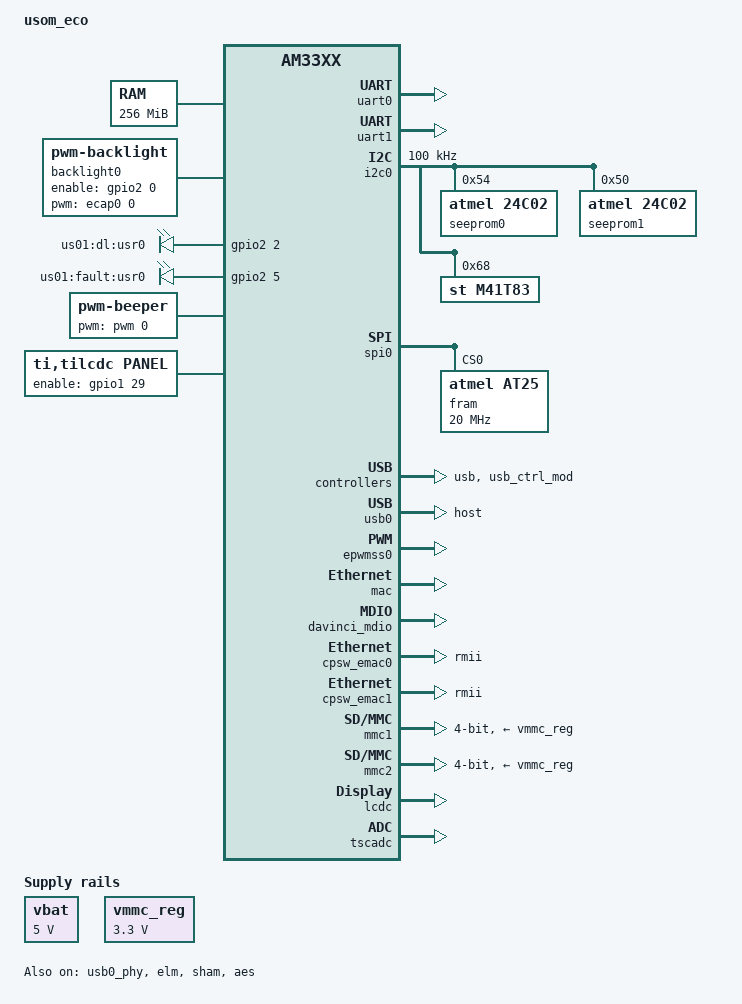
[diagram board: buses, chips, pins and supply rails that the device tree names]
/*
 * Copyright (C) 2012 Texas Instruments Incorporated - http://www.ti.com/
 *
 * This program is free software; you can redistribute it and/or modify
 * it under the terms of the GNU General Public License version 2 as
 * published by the Free Software Foundation.
 */
/dts-v1/;

#include "am33xx.dtsi"
#include <dt-bindings/interrupt-controller/irq.h>

/ {
	model = "usom_eco";
	compatible = "ti,am335x-evm", "ti,am33xx";

	memory@80000000 {
		device_type = "memory";
		reg = <0x80000000 0x10000000>; /* 256 MB */
	};

	chosen {
		stdout-path = &uart0;
	};
	
	vbat: fixedregulator@0 {
		compatible = "regulator-fixed";
		regulator-name = "vbat";
		regulator-min-microvolt = <5000000>;
		regulator-max-microvolt = <5000000>;
		regulator-boot-on;
	};

	vmmc_reg: fixedregulator@1 {
		compatible = "regulator-fixed";
		regulator-name = "vmmc";
		regulator-min-microvolt = <3300000>;
		regulator-max-microvolt = <3300000>;
		regulator-boot-on;
		regulator-always-on;
	};

	backlight0: backlight {
		compatible = "pwm-backlight";
		pwms = <&ecap0 0 50000 0>;
		brightness-levels = <0 4 8 12 16 20 24 28 32 36 40 44 48 52 56 60 64 68 72 76 80 84 88 92 96 100>;
		default-brightness-level = <0>;
		enable-gpios = <&gpio2 0 0>;
	};

	leds {
		pinctrl-names = "default", "sleep";
		pinctrl-0 = <&user_leds_default>;
		pinctrl-1 = <&user_leds_sleep>;

		compatible = "gpio-leds";

		led@1 {
			label = "us01:dl:usr0";
			gpios = <&gpio2 2 GPIO_ACTIVE_HIGH>;
			default-state = "on";
		};

		led@2 {
			label = "us01:fault:usr0";
			gpios = <&gpio2 5 GPIO_ACTIVE_HIGH>;
			default-state = "off";
		};
	};
	
	pwm: omap-pwm {
	  compatible = "ti,omap-dmtimer-pwm";
	  ti,timers = <&timer6>;
	  #pwm-cells = <3>;
	};

	working_hours {
	  compatible = "working_hours";
	  nvmem-names = "eeprom", "rtcnvram";
	  nvmem = <&seeprom0>, <&m41t83>;
	  has-blight;
	  status = "okay";
	};	
	
	beeper {
	  compatible = "pwm-beeper";
	  pwms = <&pwm 0 50000 0>;
	};
	
	panel {
		compatible = "ti,tilcdc,panel";
		status = "okay";
		pinctrl-names = "default", "sleep";
		pinctrl-0 = <&lcd_pins_default>;
		pinctrl-1 = <&lcd_pins_sleep>;
		enable-gpios = <&gpio1 29 0>;
		panel-info {
			ac-bias           = <255>;
			ac-bias-intrpt    = <0>;
			dma-burst-sz      = <16>;
			bpp               = <16>;
			fdd               = <0x80>;
			sync-edge         = <0>;
			sync-ctrl         = <1>;
			raster-order      = <0>;
			fifo-th           = <0>;
		};

		display-timings {
			800x480p62 {
				clock-frequency = <30000000>;
				hactive = <800>;
				vactive = <480>;
				hfront-porch = <39>;
				hback-porch = <39>;
				hsync-len = <47>;
				vback-porch = <29>;
				vfront-porch = <13>;
				vsync-len = <2>;
				hsync-active = <1>;
				vsync-active = <1>;
			};
		};
	};

};

&uart0 {
	/delete-property/dmas;
	/delete-property/dma-names;
	pinctrl-names = "default";
	pinctrl-0 = <&uart0_pins>;
	rts-gpio = <&gpio1 6 0>;
	mode-gpio = <&gpio1 7 0>;
	rxen-gpio = <&gpio1 5 0>;
	rs485-rts-active-high;
	status = "okay";
};

&uart1 {
	/delete-property/dmas;
	/delete-property/dma-names;
	pinctrl-names = "default";
	pinctrl-0 = <&uart1_pins>;
	status = "okay";
};

&i2c0 {
	pinctrl-names = "default";
	pinctrl-0 = <&i2c0_pins>;

	status = "okay";
	clock-frequency = <100000>;

	seeprom0:seeprom0@54 {
		compatible = "atmel,24c02";
		reg = <0x54>;
	};

	seeprom1:seeprom1@50 {
		compatible = "atmel,24c02";
		reg = <0x50>;
	};
			
	m41t83:m41t83@68 {
		compatible = "st,m41t83";
		reg = <0x68>;
	};
};

&spi0 {
	pinctrl-names = "default";
	pinctrl-0 = <&spi0_pins>;
	bus-num = <0>;
	status = "okay";
	
	fram: at25@0 {
	    compatible = "atmel,at25", "st,m95256";
	    reg = <0>;
	    spi-max-frequency = <20000000>;
	    pagesize = <64>;
	    size = <65536>;
	    address-width = <16>;
	  };
};
		
&usb {
	status = "okay";
};

&usb_ctrl_mod {
	status = "okay";
};

&usb0_phy {
	status = "okay";
};

&usb0 {
	status = "okay";
	dr_mode = "host";
};

&cppi41dma  {
	status = "okay";
};

&elm {
	status = "okay";
};

&epwmss0 {
	status = "okay";

	ecap0: pwm@100 {
		status = "okay";
		pinctrl-names = "default", "sleep";
		pinctrl-0 = <&ecap0_pins_default>;
		pinctrl-1 = <&ecap0_pins_sleep>;
	};
};

&mac {
	slaves = <1>;
	pinctrl-names = "default", "sleep";
	pinctrl-0 = <&cpsw_default>;
	pinctrl-1 = <&cpsw_sleep>;
	status = "okay";
};

&davinci_mdio {
	pinctrl-names = "default", "sleep";
	pinctrl-0 = <&davinci_mdio_default>;
	pinctrl-1 = <&davinci_mdio_sleep>;
	status = "okay";
};

&cpsw_emac0 {
  phy_id = <&davinci_mdio>, <1>;
  phy-mode = "rmii";
  status = "okay";
};

&cpsw_emac1 {
  phy_id = <&davinci_mdio>, <2>;
  phy-mode = "rmii";
  status = "okay";
};

&mmc1 {
	status = "okay";
	vmmc-supply = <&vmmc_reg>;
	bus-width = <4>;
	pinctrl-names = "default", "sleep";
	pinctrl-0 = <&mmc1_pins_default>;
	pinctrl-1 = <&mmc1_pins_sleep>;
};

&mmc2 {
  vmmc-supply = <&vmmc_reg>;
  pinctrl-names = "default";
  pinctrl-0 = <&emmc_pins>;
  bus-width = <4>;
  ti,non-removable;
  status = "okay";
};

&edma {
	ti,edma-xbar-event-map = <1 12
				  2 13>;
};

&lcdc {		
	status = "okay";
};

&tscadc {
	status = "okay";
	tsc {
		ti,wires = <4>;
		ti,x-plate-resistance = <600>;
		ti,coordinate-readouts = <5>;
		ti,wire-config = <0x00 0x11 0x22 0x33>;
		ti,charge-delay = <0x10000>;
	};
};

&sham {
	status = "okay";
};

&aes {
	status = "okay";
};

&am33xx_pinmux {
		pinctrl-names = "default";
		pinctrl-0 = <&clkout2_pin &lcd_pins_enable &phyuart_ctrl_pins &buzzer_pins_enable>;

		i2c0_pins: pinmux_i2c0_pins {
			pinctrl-single,pins = <
				AM33XX_PADCONF(AM335X_PIN_I2C0_SDA, PIN_INPUT_PULLUP, MUX_MODE0)	/* i2c0_sda.i2c0_sda */
				AM33XX_PADCONF(AM335X_PIN_I2C0_SCL, PIN_INPUT_PULLUP, MUX_MODE0)	/* i2c0_scl.i2c0_scl */
			>;
		};

		spi0_pins: pinmux_spi0_pins {
			pinctrl-single,pins = <
				AM33XX_PADCONF(AM335X_PIN_SPI0_SCLK, PIN_INPUT_PULLUP, MUX_MODE0)
				AM33XX_PADCONF(AM335X_PIN_SPI0_D0, PIN_INPUT_PULLUP, MUX_MODE0) 
				AM33XX_PADCONF(AM335X_PIN_SPI0_D1, PIN_INPUT_PULLUP, MUX_MODE0) 
				AM33XX_PADCONF(AM335X_PIN_SPI0_CS0, PIN_INPUT_PULLUP, MUX_MODE0) 
			>;
		};

		uart0_pins: pinmux_uart0_pins {
			pinctrl-single,pins = <
				AM33XX_PADCONF(AM335X_PIN_UART0_RXD, PIN_INPUT_PULLUP, MUX_MODE0)
				AM33XX_PADCONF(AM335X_PIN_UART0_TXD, PIN_OUTPUT_PULLDOWN, MUX_MODE0)
				AM33XX_PADCONF(AM335X_PIN_UART0_CTSN, PIN_INPUT, MUX_MODE0)
				AM33XX_PADCONF(AM335X_PIN_UART0_RTSN, PIN_OUTPUT_PULLDOWN, MUX_MODE0)
			>;
		};

		uart1_pins: pinmux_uart1_pins {
			pinctrl-single,pins = <
				AM33XX_PADCONF(AM335X_PIN_UART1_RXD, PIN_INPUT_PULLUP, MUX_MODE0)
				AM33XX_PADCONF(AM335X_PIN_UART1_TXD, PIN_OUTPUT_PULLDOWN, MUX_MODE0)
				AM33XX_PADCONF(AM335X_PIN_UART1_CTSN, PIN_INPUT, MUX_MODE0)
				AM33XX_PADCONF(AM335X_PIN_UART1_RTSN, PIN_OUTPUT_PULLDOWN, MUX_MODE0)
			>;
		};

		clkout2_pin: pinmux_clkout2_pin {
			pinctrl-single,pins = <
				AM33XX_PADCONF(AM335X_PIN_XDMA_EVENT_INTR1, PIN_OUTPUT_PULLDOWN, MUX_MODE3)	/* xdma_event_intr1.clkout2 */
			>;
		};

		ecap0_pins_default: backlight_pins {
			pinctrl-single,pins = <
				AM33XX_PADCONF(AM335X_PIN_ECAP0_IN_PWM0_OUT, 0x0, MUX_MODE0)
			>;
		};

		ecap0_pins_sleep: ecap0_pins_sleep {
			pinctrl-single,pins = <
				AM33XX_PADCONF(AM335X_PIN_ECAP0_IN_PWM0_OUT, 0x0, MUX_MODE7)
			>;
		};

		cpsw_default: cpsw_default {
		  pinctrl-single,pins = <
		  /* Slave 1 */
		  AM33XX_PADCONF(AM335X_PIN_MII1_CRS, PIN_INPUT_PULLDOWN, MUX_MODE1)      /* rmii1_crs_dv */
		  AM33XX_PADCONF(AM335X_PIN_RMII1_REF_CLK, PIN_INPUT_PULLDOWN, MUX_MODE0) /* rmii1_refclk */
		  AM33XX_PADCONF(AM335X_PIN_MII1_RXD1, PIN_INPUT_PULLDOWN, MUX_MODE1)	  /* rmii1_rd1 */
		  AM33XX_PADCONF(AM335X_PIN_MII1_RXD0, PIN_INPUT_PULLDOWN, MUX_MODE1)	  /* rmii1_rd0 */
		  AM33XX_PADCONF(AM335X_PIN_MII1_TXD1, PIN_OUTPUT_PULLDOWN, MUX_MODE1)	  /* rmii1_td1 */
		  AM33XX_PADCONF(AM335X_PIN_MII1_TXD0, PIN_OUTPUT_PULLDOWN, MUX_MODE1)	  /* rmii1_td0 */
		  AM33XX_PADCONF(AM335X_PIN_MII1_RX_ER, PIN_INPUT_PULLDOWN, MUX_MODE1)	  /* rmii1_rxer */
		  AM33XX_PADCONF(AM335X_PIN_MII1_TX_EN, PIN_OUTPUT_PULLDOWN, MUX_MODE1)	  /* rmii1_txen */
		  >;
		};
		
		cpsw_sleep: cpsw_sleep {
		  pinctrl-single,pins = <
		  /* Slave 1 */
		  AM33XX_PADCONF(AM335X_PIN_MII1_CRS, PIN_INPUT_PULLDOWN, MUX_MODE7)      /* rmii1_crs_dv */
		  AM33XX_PADCONF(AM335X_PIN_RMII1_REF_CLK, PIN_INPUT_PULLDOWN, MUX_MODE7) /* rmii1_refclk */
		  AM33XX_PADCONF(AM335X_PIN_MII1_RXD1, PIN_INPUT_PULLDOWN, MUX_MODE7)	  /* rmii1_rd1 */
		  AM33XX_PADCONF(AM335X_PIN_MII1_RXD0, PIN_INPUT_PULLDOWN, MUX_MODE7)	  /* rmii1_rd0 */
		  AM33XX_PADCONF(AM335X_PIN_MII1_TXD1, PIN_INPUT_PULLDOWN, MUX_MODE7)	  /* rmii1_td1 */
		  AM33XX_PADCONF(AM335X_PIN_MII1_TXD0, PIN_INPUT_PULLDOWN, MUX_MODE7)	  /* rmii1_td0 */
		  AM33XX_PADCONF(AM335X_PIN_MII1_RX_ER, PIN_INPUT_PULLDOWN, MUX_MODE7)	  /* rmii1_rxer */
		  AM33XX_PADCONF(AM335X_PIN_MII1_TX_EN, PIN_INPUT_PULLDOWN, MUX_MODE7)	  /* rmii1_txen */
		  >;
		};
		
		davinci_mdio_default: davinci_mdio_default {
			pinctrl-single,pins = <
				/* MDIO */
				AM33XX_PADCONF(AM335X_PIN_MDIO, PIN_INPUT_PULLUP | SLEWCTRL_FAST, MUX_MODE0)
				AM33XX_PADCONF(AM335X_PIN_MDC, PIN_OUTPUT_PULLUP, MUX_MODE0)
			>;
		};

		davinci_mdio_sleep: davinci_mdio_sleep {
			pinctrl-single,pins = <
				/* MDIO reset value */
				AM33XX_PADCONF(AM335X_PIN_MDIO, PIN_INPUT_PULLDOWN, MUX_MODE7)
				AM33XX_PADCONF(AM335X_PIN_MDC, PIN_INPUT_PULLDOWN, MUX_MODE7)
			>;
		};

		mmc1_pins_default: pinmux_mmc1_pins {
			pinctrl-single,pins = <
				AM33XX_PADCONF(AM335X_PIN_MMC0_DAT0, PIN_INPUT_PULLUP, MUX_MODE0)
				AM33XX_PADCONF(AM335X_PIN_MMC0_DAT1, PIN_INPUT_PULLUP, MUX_MODE0)
				AM33XX_PADCONF(AM335X_PIN_MMC0_DAT2, PIN_INPUT_PULLUP, MUX_MODE0)
				AM33XX_PADCONF(AM335X_PIN_MMC0_DAT3, PIN_INPUT_PULLUP, MUX_MODE0)
				AM33XX_PADCONF(AM335X_PIN_MMC0_CMD, PIN_INPUT_PULLUP, MUX_MODE0)
				AM33XX_PADCONF(AM335X_PIN_MMC0_CLK, PIN_INPUT_PULLUP, MUX_MODE0)
			>;
		};

		mmc1_pins_sleep: pinmux_mmc1_pins_sleep {
			pinctrl-single,pins = <
				AM33XX_PADCONF(AM335X_PIN_MMC0_DAT0, PIN_INPUT_PULLDOWN, MUX_MODE7)
				AM33XX_PADCONF(AM335X_PIN_MMC0_DAT1, PIN_INPUT_PULLDOWN, MUX_MODE7)
				AM33XX_PADCONF(AM335X_PIN_MMC0_DAT2, PIN_INPUT_PULLDOWN, MUX_MODE7)
				AM33XX_PADCONF(AM335X_PIN_MMC0_DAT3, PIN_INPUT_PULLDOWN, MUX_MODE7)
				AM33XX_PADCONF(AM335X_PIN_MMC0_CMD, PIN_INPUT_PULLDOWN, MUX_MODE7)
				AM33XX_PADCONF(AM335X_PIN_MMC0_CLK, PIN_INPUT_PULLDOWN, MUX_MODE7)
			>;
		};

		emmc_pins: pinmux_emmc_pins {
		  pinctrl-single,pins = <
				AM33XX_PADCONF(AM335X_PIN_GPMC_CSN1, PIN_INPUT_PULLUP, MUX_MODE2)
				AM33XX_PADCONF(AM335X_PIN_GPMC_CSN2, PIN_INPUT_PULLUP, MUX_MODE2)
				AM33XX_PADCONF(AM335X_PIN_GPMC_AD0, PIN_INPUT_PULLUP, MUX_MODE1)
				AM33XX_PADCONF(AM335X_PIN_GPMC_AD1, PIN_INPUT_PULLUP, MUX_MODE1)
				AM33XX_PADCONF(AM335X_PIN_GPMC_AD2, PIN_INPUT_PULLUP, MUX_MODE1)
				AM33XX_PADCONF(AM335X_PIN_GPMC_AD3, PIN_INPUT_PULLUP, MUX_MODE1)
			>;
		};

		lcd_pins_enable: pinmux_lcd_pins_enable {
		  	pinctrl-single,pins = <
				AM33XX_PADCONF(AM335X_PIN_GPMC_CSN0, PIN_OUTPUT_PULLDOWN, MUX_MODE7)
				AM33XX_PADCONF(AM335X_PIN_GPMC_CSN3, PIN_OUTPUT_PULLDOWN, MUX_MODE7)
		  	>;
		};

		phyuart_ctrl_pins: pinmux_phyuart_ctrl_pins {
		  pinctrl-single,pins = <
				AM33XX_PADCONF(AM335X_PIN_GPMC_AD7, PIN_OUTPUT_PULLDOWN, MUX_MODE7) /* RS232/485 MODE */
				AM33XX_PADCONF(AM335X_PIN_GPMC_AD6, PIN_OUTPUT_PULLDOWN, MUX_MODE7) /* DXEN */
				AM33XX_PADCONF(AM335X_PIN_GPMC_AD5, PIN_OUTPUT_PULLUP, MUX_MODE7)   /* RXEN */
		  >;
		};

		buzzer_pins_enable: pinmux_buzzer_pins_enable {
		  pinctrl-single,pins = <
				AM33XX_PADCONF(AM335X_PIN_GPMC_WEN, 0x0, MUX_MODE2) 
		  >;
		};

		user_leds_default: user_leds_default {
			pinctrl-single,pins = <
				AM33XX_PADCONF(AM335X_PIN_MCASP0_FSX, PIN_OUTPUT_PULLDOWN, MUX_MODE7) 
				AM33XX_PADCONF(AM335X_PIN_MCASP0_ACLKX, PIN_OUTPUT_PULLDOWN, MUX_MODE7) 
			>;
		};

		user_leds_sleep: user_leds_sleep {
			pinctrl-single,pins = <
				AM33XX_PADCONF(AM335X_PIN_MCASP0_FSX, PIN_OUTPUT_PULLDOWN, MUX_MODE7) 
				AM33XX_PADCONF(AM335X_PIN_MCASP0_ACLKX, PIN_OUTPUT_PULLDOWN, MUX_MODE7) 
			>;
		};
		
		lcd_pins_default: lcd_pins_default {
			pinctrl-single,pins = <
				AM33XX_PADCONF(AM335X_PIN_LCD_DATA0, PIN_OUTPUT, MUX_MODE0)
				AM33XX_PADCONF(AM335X_PIN_LCD_DATA1, PIN_OUTPUT, MUX_MODE0)
				AM33XX_PADCONF(AM335X_PIN_LCD_DATA2, PIN_OUTPUT, MUX_MODE0)
				AM33XX_PADCONF(AM335X_PIN_LCD_DATA3, PIN_OUTPUT, MUX_MODE0)
				AM33XX_PADCONF(AM335X_PIN_LCD_DATA4, PIN_OUTPUT, MUX_MODE0)
				AM33XX_PADCONF(AM335X_PIN_LCD_DATA5, PIN_OUTPUT, MUX_MODE0)
				AM33XX_PADCONF(AM335X_PIN_LCD_DATA6, PIN_OUTPUT, MUX_MODE0)
				AM33XX_PADCONF(AM335X_PIN_LCD_DATA7, PIN_OUTPUT, MUX_MODE0)
				AM33XX_PADCONF(AM335X_PIN_LCD_DATA8, PIN_OUTPUT, MUX_MODE0)
				AM33XX_PADCONF(AM335X_PIN_LCD_DATA9, PIN_OUTPUT, MUX_MODE0)
				AM33XX_PADCONF(AM335X_PIN_LCD_DATA10, PIN_OUTPUT, MUX_MODE0)
				AM33XX_PADCONF(AM335X_PIN_LCD_DATA11, PIN_OUTPUT, MUX_MODE0)
				AM33XX_PADCONF(AM335X_PIN_LCD_DATA12, PIN_OUTPUT, MUX_MODE0)
				AM33XX_PADCONF(AM335X_PIN_LCD_DATA13, PIN_OUTPUT, MUX_MODE0)
				AM33XX_PADCONF(AM335X_PIN_LCD_DATA14, PIN_OUTPUT, MUX_MODE0)
				AM33XX_PADCONF(AM335X_PIN_LCD_DATA15, PIN_OUTPUT, MUX_MODE0)
				AM33XX_PADCONF(AM335X_PIN_LCD_VSYNC, PIN_OUTPUT, MUX_MODE0)
				AM33XX_PADCONF(AM335X_PIN_LCD_HSYNC, PIN_OUTPUT, MUX_MODE0)
				AM33XX_PADCONF(AM335X_PIN_LCD_PCLK, PIN_OUTPUT, MUX_MODE0)
				AM33XX_PADCONF(AM335X_PIN_LCD_AC_BIAS_EN, PIN_OUTPUT, MUX_MODE0)
				>;
		};

		lcd_pins_sleep: lcd_pins_sleep {
			pinctrl-single,pins = <
				AM33XX_PADCONF(AM335X_PIN_LCD_DATA0, PIN_INPUT, MUX_MODE7)
				AM33XX_PADCONF(AM335X_PIN_LCD_DATA1, PIN_INPUT, MUX_MODE7)
				AM33XX_PADCONF(AM335X_PIN_LCD_DATA2, PIN_INPUT, MUX_MODE7)
				AM33XX_PADCONF(AM335X_PIN_LCD_DATA3, PIN_INPUT, MUX_MODE7)
				AM33XX_PADCONF(AM335X_PIN_LCD_DATA4, PIN_INPUT, MUX_MODE7)
				AM33XX_PADCONF(AM335X_PIN_LCD_DATA5, PIN_INPUT, MUX_MODE7)
				AM33XX_PADCONF(AM335X_PIN_LCD_DATA6, PIN_INPUT, MUX_MODE7)
				AM33XX_PADCONF(AM335X_PIN_LCD_DATA7, PIN_INPUT, MUX_MODE7)
				AM33XX_PADCONF(AM335X_PIN_LCD_DATA8, PIN_INPUT, MUX_MODE7)
				AM33XX_PADCONF(AM335X_PIN_LCD_DATA9, PIN_INPUT, MUX_MODE7)
				AM33XX_PADCONF(AM335X_PIN_LCD_DATA10, PIN_INPUT, MUX_MODE7)
				AM33XX_PADCONF(AM335X_PIN_LCD_DATA11, PIN_INPUT, MUX_MODE7)
				AM33XX_PADCONF(AM335X_PIN_LCD_DATA12, PIN_INPUT, MUX_MODE7)
				AM33XX_PADCONF(AM335X_PIN_LCD_DATA13, PIN_INPUT, MUX_MODE7)
				AM33XX_PADCONF(AM335X_PIN_LCD_DATA14, PIN_INPUT, MUX_MODE7)
				AM33XX_PADCONF(AM335X_PIN_LCD_DATA15, PIN_INPUT, MUX_MODE7)
				AM33XX_PADCONF(AM335X_PIN_LCD_VSYNC, PIN_INPUT_PULLDOWN, MUX_MODE7)
				AM33XX_PADCONF(AM335X_PIN_LCD_HSYNC, PIN_INPUT_PULLDOWN, MUX_MODE7)
				AM33XX_PADCONF(AM335X_PIN_LCD_PCLK, PIN_INPUT_PULLDOWN, MUX_MODE7)
				AM33XX_PADCONF(AM335X_PIN_LCD_AC_BIAS_EN, PIN_INPUT_PULLDOWN, MUX_MODE7)
			>;
		};
	};

